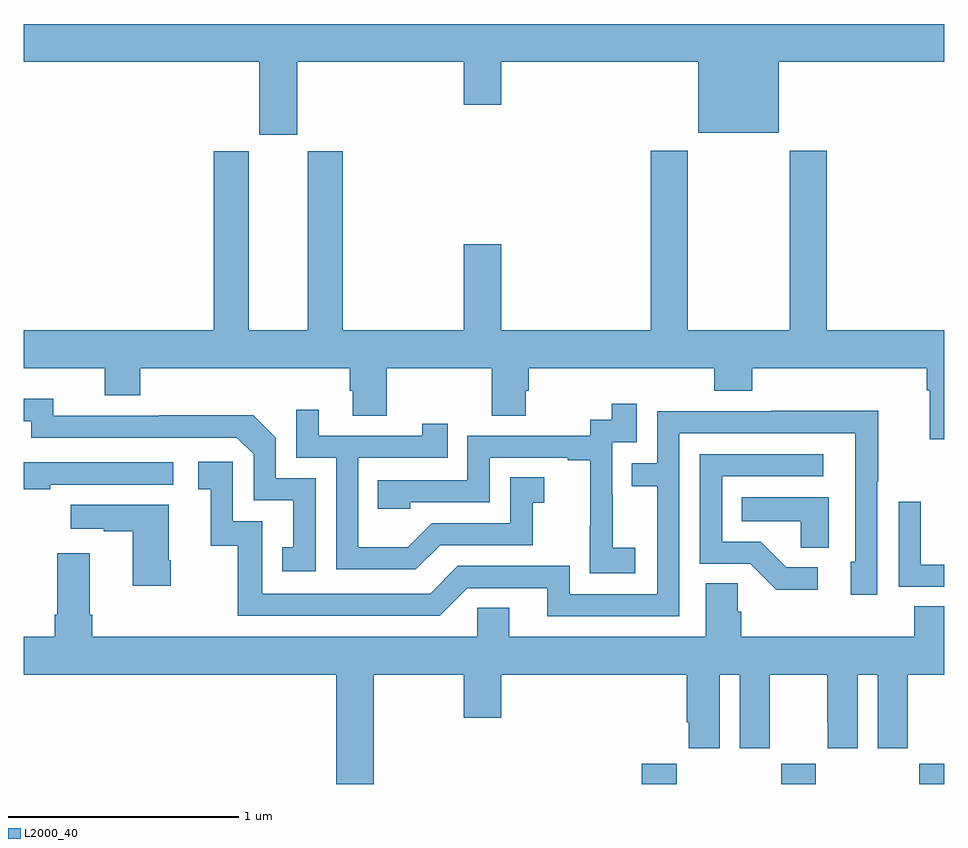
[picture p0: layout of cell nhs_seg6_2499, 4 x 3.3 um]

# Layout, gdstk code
import gdstk
lib = gdstk.Library(unit=1e-6, precision=1e-09)
def R(c, l, rs):  # rectangles x0, y0, x1, y1
    for r in rs: c.add(gdstk.rectangle(r[:2], r[2:], *l))
def P(c, l, *ps):  # polygons
    for p in ps: c.add(gdstk.Polygon(p, *l))
L2000_40 = (2000, 40)

nhs_seg6_2499 = lib.new_cell('nhs_seg6_2499')
R(nhs_seg6_2499, L2000_40, [(261.686,973.5,261.839,973.588), (262.293,973.5,262.443,973.588), (262.893,973.5,263,973.588)])
P(nhs_seg6_2499, L2000_40, [(260.188,976.64),(260.912,976.64),(260.912,976.452),(261.076,976.452),(261.076,976.64),(261.932,976.64),(261.932,976.331),(262.282,976.331),(262.282,976.64),(263,976.64),(263,976.804),(259,976.804),(259,976.64),(260.024,976.64),(260.024,976.323),(260.188,976.323)],
  [(260.416,975.21),(260.429,975.21),(260.429,975.1),(260.577,975.1),(260.577,975.308),(261.034,975.308),(261.034,975.1),(261.181,975.1),(261.181,975.21),(261.194,975.21),(261.194,975.308),(262.001,975.308),(262.001,975.209),(262.166,975.209),(262.166,975.308),(262.925,975.308),(262.925,975.212),(262.937,975.212),(262.937,974.999),(263,974.999),(263,975.472),(262.49,975.472),(262.49,976.252),(262.33,976.252),(262.33,975.472),(261.885,975.472),(261.885,976.252),(261.725,976.252),(261.725,975.472),(261.076,975.472),(261.076,975.847),(260.912,975.847),(260.912,975.472),(260.387,975.472),(260.387,976.251),(260.234,976.251),(260.234,975.472),(259.978,975.472),(259.978,976.251),(259.826,976.251),(259.826,975.472),(259,975.472),(259,975.308),(259.352,975.308),(259.352,975.191),(259.505,975.191),(259.505,975.308),(260.416,975.308)],
  [(260.268,974.829),(260.094,974.829),(260.094,975.006),(259.996,975.104),(259.588,975.104),(259.588,975.102),(259.128,975.102),(259.128,975.175),(259,975.175),(259,975.078),(259.032,975.078),(259.032,975.006),(259.926,975.006),(259.998,974.934),(259.998,974.733),(260.171,974.733),(260.171,974.529),(260.122,974.529),(260.122,974.424),(260.268,974.424)],
  [(261.658,974.527),(261.56,974.527),(261.56,974.756),(261.558,974.756),(261.558,974.985),(261.663,974.985),(261.663,975.154),(261.555,975.154),(261.555,975.084),(261.462,975.084),(261.462,975.015),(260.928,975.015),(260.928,974.82),(260.539,974.82),(260.539,974.697),(260.679,974.697),(260.679,974.724),(261.024,974.724),(261.024,974.919),(261.365,974.919),(261.365,974.907),(261.461,974.907),(261.461,974.623),(261.46,974.623),(261.46,974.417),(261.658,974.417)],
  [(260.809,974.538),(261.213,974.538),(261.213,974.723),(261.262,974.723),(261.262,974.833),(261.114,974.833),(261.114,974.634),(260.772,974.634),(260.668,974.53),(260.454,974.53),(260.454,974.919),(260.843,974.919),(260.843,975.067),(260.732,975.067),(260.732,975.015),(260.281,975.015),(260.281,975.127),(260.184,975.127),(260.184,974.919),(260.358,974.919),(260.358,974.433),(260.704,974.433)],
  [(261.849,975.024),(262.614,975.024),(262.614,974.466),(262.595,974.466),(262.595,974.322),(262.71,974.322),(262.71,974.815),(262.713,974.815),(262.713,975.122),(262.249,975.122),(262.249,975.12),(261.753,975.12),(261.753,974.895),(261.643,974.895),(261.643,974.794),(261.753,974.794),(261.753,974.325),(261.372,974.325),(261.372,974.448),(260.886,974.448),(260.766,974.328),(260.037,974.328),(260.037,974.643),(259.908,974.643),(259.908,974.902),(259.758,974.902),(259.758,974.781),(259.811,974.781),(259.811,974.535),(259.929,974.535),(259.929,974.232),(260.808,974.232),(260.928,974.352),(261.275,974.352),(261.275,974.229),(261.849,974.229)],
  [(262.45,974.442),(262.315,974.442),(262.204,974.553),(262.035,974.553),(262.035,974.838),(262.474,974.838),(262.474,974.934),(261.939,974.934),(261.939,974.457),(262.158,974.457),(262.271,974.345),(262.45,974.345)],
  [(259.115,974.802),(259.648,974.802),(259.648,974.898),(259,974.898),(259,974.782),(259.115,974.782)],
  [(262.498,974.746),(262.12,974.746),(262.12,974.642),(262.377,974.642),(262.377,974.527),(262.498,974.527)],
  [(263,974.454),(262.899,974.454),(262.899,974.728),(262.803,974.728),(262.803,974.358),(263,974.358)],
  [(259.638,974.473),(259.63,974.473),(259.63,974.713),(259.203,974.713),(259.203,974.609),(259.346,974.609),(259.346,974.599),(259.472,974.599),(259.472,974.361),(259.638,974.361)],
  [(260.521,973.976),(260.912,973.976),(260.912,973.788),(261.076,973.788),(261.076,973.976),(261.881,973.976),(261.881,973.768),(261.89,973.768),(261.89,973.656),(262.024,973.656),(262.024,973.976),(262.112,973.976),(262.112,973.656),(262.242,973.656),(262.242,973.768),(262.243,973.768),(262.243,973.976),(262.493,973.976),(262.493,973.768),(262.494,973.768),(262.494,973.656),(262.624,973.656),(262.624,973.976),(262.712,973.976),(262.712,973.656),(262.842,973.656),(262.842,973.768),(262.843,973.768),(262.843,973.976),(263,973.976),(263,974.273),(262.871,974.273),(262.871,974.14),(262.118,974.14),(262.118,974.249),(262.104,974.249),(262.104,974.372),(261.965,974.372),(261.965,974.14),(261.109,974.14),(261.109,974.267),(260.97,974.267),(260.97,974.14),(259.298,974.14),(259.298,974.236),(259.285,974.236),(259.285,974.503),(259.145,974.503),(259.145,974.236),(259.133,974.236),(259.133,974.14),(259,974.14),(259,973.976),(260.357,973.976),(260.357,973.5),(260.521,973.5)])

lib.write_gds('nhs_seg6_2499.gds')
